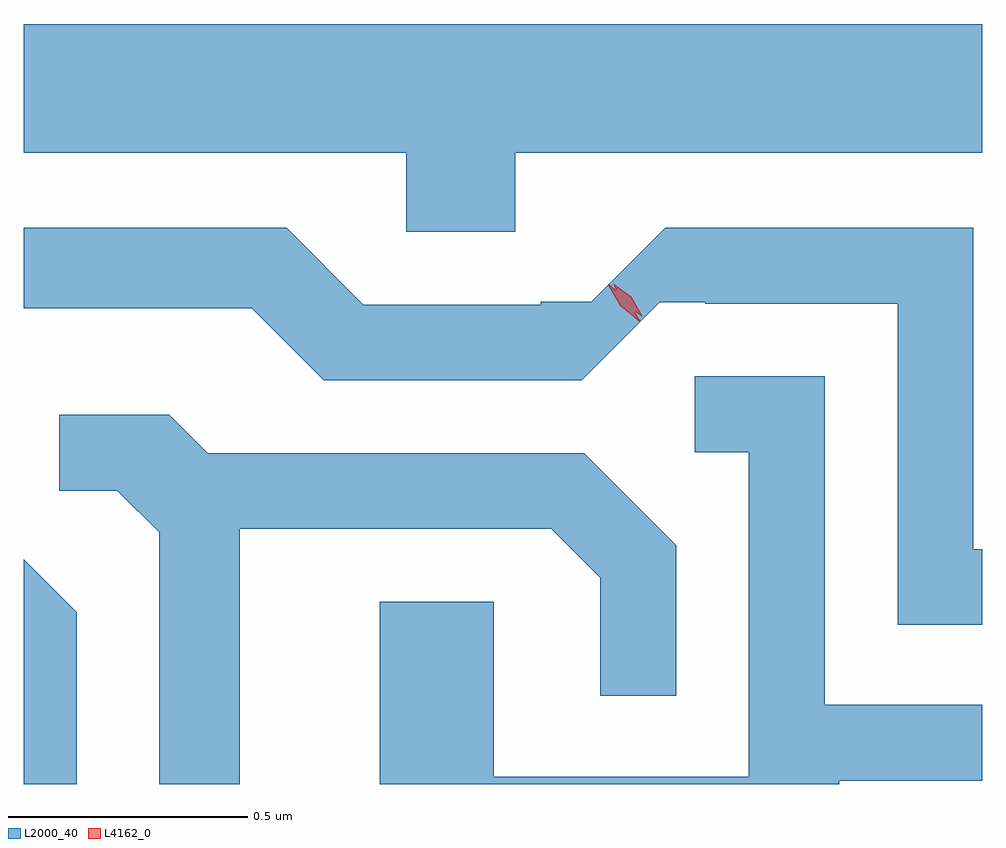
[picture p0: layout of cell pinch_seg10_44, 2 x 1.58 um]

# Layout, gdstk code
import gdstk
lib = gdstk.Library(unit=1e-6, precision=1e-09)
def P(c, l, *ps):  # polygons
    for p in ps: c.add(gdstk.Polygon(p, *l))
L2000_40 = (2000, 40)
L4162_0 = (4162, 0)

pinch_seg10_44 = lib.new_cell('pinch_seg10_44')
P(pinch_seg10_44, L2000_40, [(599.764,2207.156),(600.738,2207.156),(600.738,2207.424),(598.738,2207.424),(598.738,2207.156),(599.536,2207.156),(599.536,2206.991),(599.764,2206.991)],
  [(600.738,2206.329),(600.719,2206.329),(600.719,2206.999),(600.076,2206.999),(599.922,2206.845),(599.817,2206.845),(599.817,2206.839),(599.447,2206.839),(599.287,2206.999),(598.738,2206.999),(598.738,2206.831),(599.214,2206.831),(599.364,2206.681),(599.902,2206.681),(600.065,2206.844),(600.16,2206.844),(600.16,2206.841),(600.561,2206.841),(600.561,2206.171),(600.738,2206.171)],
  [(600.439,2205.846),(600.738,2205.846),(600.738,2206.004),(600.409,2206.004),(600.409,2206.689),(600.138,2206.689),(600.138,2206.531),(600.251,2206.531),(600.251,2205.854),(599.719,2205.854),(599.719,2206.219),(599.481,2206.219),(599.481,2205.839),(600.439,2205.839)],
  [(599.189,2206.371),(599.839,2206.371),(599.941,2206.269),(599.941,2206.023),(600.099,2206.023),(600.099,2206.337),(599.907,2206.529),(599.122,2206.529),(599.042,2206.609),(598.813,2206.609),(598.813,2206.451),(598.934,2206.451),(599.021,2206.364),(599.021,2205.839),(599.189,2205.839)],
  [(598.849,2206.197),(598.738,2206.308),(598.738,2205.839),(598.849,2205.839)])
P(pinch_seg10_44, L4162_0, [(600.023,2206.803),(599.983,2206.836),(599.958,2206.88),(599.958,2206.881),(599.959,2206.881),(599.998,2206.848),(600.024,2206.804),(600.024,2206.803)],
  [(600.027,2206.814),(599.99,2206.841),(599.968,2206.882),(599.968,2206.882),(599.968,2206.882),(600.005,2206.855),(600.028,2206.814),(600.028,2206.814)])

lib.write_gds('pinch_seg10_44.gds')
